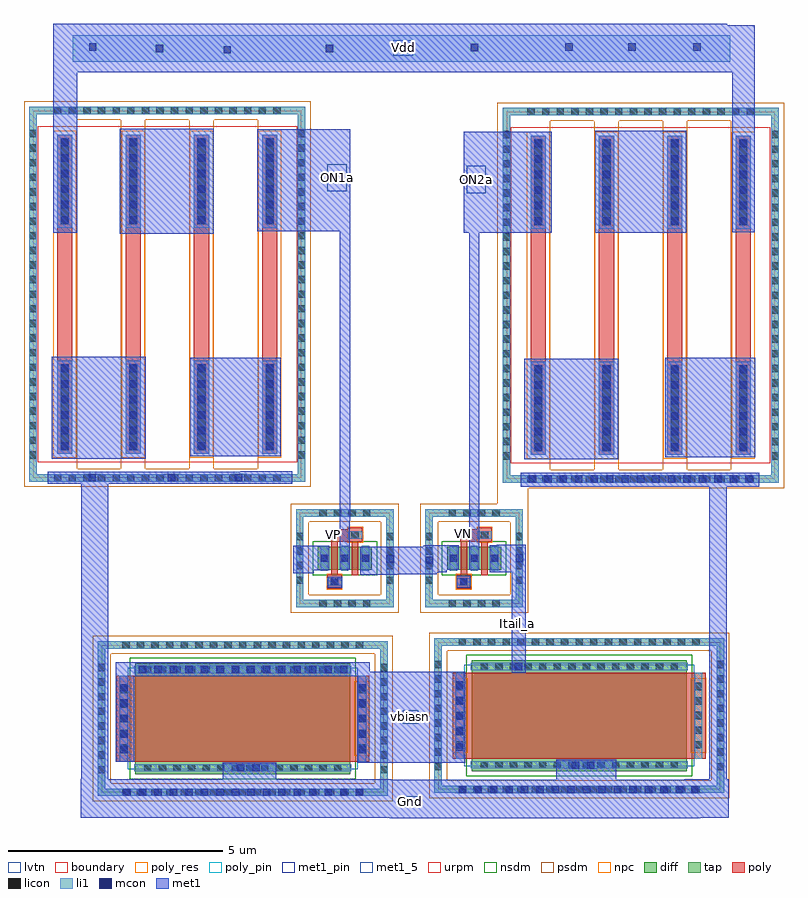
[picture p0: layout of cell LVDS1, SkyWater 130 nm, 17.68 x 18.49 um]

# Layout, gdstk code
from math import pi, radians
import gdstk
lib = gdstk.Library(unit=1e-6, precision=1e-09)
def R(c, l, rs):  # rectangles x0, y0, x1, y1
    for r in rs: c.add(gdstk.rectangle(r[:2], r[2:], *l))
def A(c, l, x, y, w, h, nx, ny, dx, dy):  # array of equal rectangles
    R(c, l, [(x+i*dx, y+j*dy, x+i*dx+w, y+j*dy+h) for i in range(nx) for j in range(ny)])
diff = (65, 20)
tap = (65, 44)
poly_res = (66, 13)
poly_pin = (66, 16)
poly = (66, 20)
licon = (66, 44)
li1 = (67, 20)
mcon = (67, 44)
met1_5 = (68, 5)
met1_pin = (68, 16)
met1 = (68, 20)
urpm = (79, 20)
nsdm = (93, 44)
psdm = (94, 20)
npc = (95, 20)
lvtn = (125, 44)
boundary = (235, 4)

sky130_fd_pr__res_xhigh_ = lib.new_cell('sky130_fd_pr__res_xhigh_po_0p35_RRCNTY')
R(sky130_fd_pr__res_xhigh_, tap, [(-3.21,-4.36,3.21,-4.19), (-3.21,-4.19,-3.04,4.19), (3.04,-4.19,3.21,4.19), (-3.21,4.19,3.21,4.36)])
A(sky130_fd_pr__res_xhigh_, poly_res, -2.56, -1.63, 0.35, 3.26, 4, 1, 1.59, 0)
A(sky130_fd_pr__res_xhigh_, poly, -2.56, -3.71, 0.35, 7.42, 4, 1, 1.59, 0)
A(sky130_fd_pr__res_xhigh_, licon, -2.635, -4.36, 0.17, 0.17, 16, 2, 0.34, 8.55)
A(sky130_fd_pr__res_xhigh_, licon, -3.21, -3.825, 0.17, 0.17, 1, 23, 0, 0.34)
A(sky130_fd_pr__res_xhigh_, licon, 3.04, -3.825, 0.17, 0.17, 1, 23, 0, 0.34)
A(sky130_fd_pr__res_xhigh_, licon, -2.48, -3.63, 0.19, 2, 4, 2, 1.59, 5.26)
A(sky130_fd_pr__res_xhigh_, li1, -2.56, -3.71, 0.35, 2.16, 4, 2, 1.59, 5.26)
R(sky130_fd_pr__res_xhigh_, li1, [(-3.21,-4.36,3.21,-4.19), (-3.21,-4.19,-3.04,4.19), (3.04,-4.19,3.21,4.19), (-3.21,4.19,3.21,4.36)])
R(sky130_fd_pr__res_xhigh_, urpm, [(-3.02,-3.91,3.02,3.91)])
R(sky130_fd_pr__res_xhigh_, psdm, [(-3.335,-4.485,3.335,-4.065), (-3.335,-4.065,-2.1,4.065), (-1.08,-4.065,-0.51,4.065), (0.51,-4.065,1.08,4.065), (2.1,-4.065,3.335,4.065), (-3.335,4.065,3.335,4.485)])
A(sky130_fd_pr__res_xhigh_, npc, -2.655, -3.805, 0.54, 7.61, 4, 1, 1.59, 0)
R(sky130_fd_pr__res_xhigh_, boundary, [(-3.12,-4.27,3.12,4.27)])

sky130_fd_pr__nfet_01v8_ = lib.new_cell('sky130_fd_pr__nfet_01v8_lvt_F9NR5A')
R(sky130_fd_pr__nfet_01v8_, diff, [(-1.29,-2.5,1.29,2.5)])
R(sky130_fd_pr__nfet_01v8_, tap, [(-1.8,-3.37,1.8,-3.2), (-1.8,-3.2,-1.63,3.2), (1.63,-3.2,1.8,3.2), (-1.8,3.2,1.8,3.37)])
R(sky130_fd_pr__nfet_01v8_, poly, [(-1,-2.94,1,2.94)])
A(sky130_fd_pr__nfet_01v8_, licon, -1.275, -3.37, 0.17, 0.17, 8, 2, 0.34, 6.57)
A(sky130_fd_pr__nfet_01v8_, licon, -0.765, -2.86, 0.17, 0.17, 5, 2, 0.34, 5.55)
A(sky130_fd_pr__nfet_01v8_, licon, -1.8, -2.805, 0.17, 0.17, 1, 17, 0, 0.34)
A(sky130_fd_pr__nfet_01v8_, licon, 1.63, -2.805, 0.17, 0.17, 1, 17, 0, 0.34)
A(sky130_fd_pr__nfet_01v8_, licon, -1.23, -2.295, 0.17, 0.17, 1, 14, 0, 0.34)
A(sky130_fd_pr__nfet_01v8_, licon, 1.06, -2.295, 0.17, 0.17, 1, 14, 0, 0.34)
R(sky130_fd_pr__nfet_01v8_, li1, [(-1.8,-3.37,1.8,-3.2), (-1.8,-3.2,-1.63,3.2), (1.63,-3.2,1.8,3.2), (-1,-2.86,1,-2.69), (-1.23,-2.52,-1.06,2.52), (1.06,-2.52,1.23,2.52), (-1,2.69,1,2.86), (-1.8,3.2,1.8,3.37)])
R(sky130_fd_pr__nfet_01v8_, nsdm, [(-1.415,-2.625,1.415,2.625)])
R(sky130_fd_pr__nfet_01v8_, psdm, [(-1.925,-3.495,1.925,-3.075), (-1.925,-3.075,-1.505,3.075), (1.505,-3.075,1.925,3.075), (-1.925,3.075,1.925,3.495)])
R(sky130_fd_pr__nfet_01v8_, npc, [(-0.865,-2.96,0.865,-2.59), (-0.865,2.59,0.865,2.96)])
R(sky130_fd_pr__nfet_01v8_, lvtn, [(-1.18,-2.68,1.18,2.68)])
R(sky130_fd_pr__nfet_01v8_, boundary, [(-1.71,-3.28,1.71,3.28)])

c_sky130_fd_pr__nfet_01v8_ = lib.new_cell('sky130_fd_pr__nfet_01v8_N9UHYA')
R(c_sky130_fd_pr__nfet_01v8_, diff, [(-0.625,-0.27,0.625,0.27)])
R(c_sky130_fd_pr__nfet_01v8_, tap, [(-1.135,-1.14,1.135,-0.97), (-1.135,-0.97,-0.965,0.97), (0.965,-0.97,1.135,0.97), (-1.135,0.97,1.135,1.14)])
R(c_sky130_fd_pr__nfet_01v8_, poly, [(-0.405,-0.71,-0.075,-0.38), (0.165,-0.4,0.315,0.38), (-0.315,-0.38,-0.165,0.4), (0.075,0.38,0.405,0.71)])
A(c_sky130_fd_pr__nfet_01v8_, licon, -0.595, -1.14, 0.17, 0.17, 4, 2, 0.34, 2.11)
A(c_sky130_fd_pr__nfet_01v8_, licon, -1.135, -0.595, 0.17, 0.17, 1, 4, 0, 0.34)
A(c_sky130_fd_pr__nfet_01v8_, licon, 0.965, -0.595, 0.17, 0.17, 1, 4, 0, 0.34)
A(c_sky130_fd_pr__nfet_01v8_, licon, -0.565, -0.085, 0.17, 0.17, 3, 1, 0.48, 0)
R(c_sky130_fd_pr__nfet_01v8_, licon, [(-0.325,-0.63,-0.155,-0.46), (0.155,0.46,0.325,0.63)])
A(c_sky130_fd_pr__nfet_01v8_, li1, -0.565, -0.29, 0.17, 0.58, 3, 1, 0.48, 0)
R(c_sky130_fd_pr__nfet_01v8_, li1, [(-1.135,-1.14,1.135,-0.97), (-1.135,-0.97,-0.965,0.97), (0.965,-0.97,1.135,0.97), (-0.405,-0.63,-0.075,-0.46), (0.075,0.46,0.405,0.63), (-1.135,0.97,1.135,1.14)])
A(c_sky130_fd_pr__nfet_01v8_, mcon, -0.565, -0.085, 0.17, 0.17, 3, 1, 0.48, 0)
A(c_sky130_fd_pr__nfet_01v8_, met1, -0.595, -0.27, 0.23, 0.54, 3, 1, 0.48, 0)
R(c_sky130_fd_pr__nfet_01v8_, nsdm, [(-0.75,-0.395,0.75,0.395)])
R(c_sky130_fd_pr__nfet_01v8_, psdm, [(-1.26,-1.265,1.26,-0.845), (-1.26,-0.845,-0.84,0.845), (0.84,-0.845,1.26,0.845), (-1.26,0.845,1.26,1.265)])
R(c_sky130_fd_pr__nfet_01v8_, npc, [(-0.425,-0.73,-0.055,-0.36), (0.055,0.36,0.425,0.73)])
R(c_sky130_fd_pr__nfet_01v8_, boundary, [(-1.05,-1.055,1.05,1.055)])

lvds1 = lib.new_cell('LVDS1')
R(lvds1, poly_pin, [(6.95,-1.38,7.04,-1.26), (9.98,-1.36,10.07,-1.24)])
R(lvds1, poly, [(6.93,-1.49,7.41,-1.19), (9.94,-1.49,10.34,-1.46), (10.42,-1.49,10.57,-1.45), (9.94,-1.46,10.39,-1.22), (9.94,-1.22,10.34,-1.19)])
A(lvds1, li1, 11.58, 0.54, 0.35, 2.16, 4, 2, 1.59, 5.26)
A(lvds1, li1, 0.565, 0.565, 0.35, 2.16, 4, 2, 1.59, 5.26)
R(lvds1, li1, [(2,-7.4,7.78,-7.23), (9.81,-7.34,15.59,-7.17), (4.67,-6.83,5.35,-6.66), (12.47,-6.77,13.13,-6.6), (2.03,-6.52,2.2,-4.68), (7.58,-6.52,7.75,-4.68), (9.84,-6.46,10.01,-4.62), (2.45,-4.54,7.33,-4.37), (11.18,-4.47,11.42,-4.3), (6.93,-2.5,7.1,-2.33), (9.94,-2.5,10.11,-2.33), (9.13,-2.07,9.31,-1.76), (8.22,-2.04,8.4,-1.73), (11.23,-2.02,11.41,-1.71), (11.41,-0.11,16.87,0.06), (1.2,-0.08,1.56,0.1), (3.04,-0.08,3.4,0.1), (4.6,-0.08,4.96,0.1), (0.93,9.68,16.22,10.3)])
A(lvds1, mcon, 2.105, -7.4, 0.17, 0.17, 16, 1, 0.36, 0)
A(lvds1, mcon, 9.915, -7.34, 0.17, 0.17, 16, 1, 0.36, 0)
A(lvds1, mcon, 2.03, -6.405, 0.17, 0.17, 1, 5, 0, 0.36)
A(lvds1, mcon, 7.58, -6.405, 0.17, 0.17, 1, 5, 0, 0.36)
A(lvds1, mcon, 9.84, -6.345, 0.17, 0.17, 1, 5, 0, 0.36)
A(lvds1, mcon, 2.465, -4.54, 0.17, 0.17, 14, 1, 0.36, 0)
A(lvds1, mcon, 11.535, -0.11, 0.17, 0.17, 15, 1, 0.36, 0)
A(lvds1, mcon, 11.67, 0.635, 0.17, 0.17, 4, 6, 1.59, 0.36)
A(lvds1, mcon, 0.655, 0.66, 0.17, 0.17, 4, 6, 1.59, 0.36)
A(lvds1, mcon, 11.67, 5.895, 0.17, 0.17, 4, 6, 1.59, 0.36)
A(lvds1, mcon, 0.655, 5.92, 0.17, 0.17, 4, 6, 1.59, 0.36)
R(lvds1, mcon, [(4.745,-6.83,4.915,-6.66), (5.105,-6.83,5.275,-6.66), (12.535,-6.77,12.705,-6.6), (12.895,-6.77,13.065,-6.6), (11.215,-4.47,11.385,-4.3), (6.93,-2.5,7.1,-2.33), (9.94,-2.5,10.11,-2.33), (9.135,-2,9.305,-1.83), (8.225,-1.97,8.395,-1.8), (11.235,-1.95,11.405,-1.78), (1.295,-0.075,1.465,0.095), (3.135,-0.075,3.305,0.095), (4.695,-0.075,4.865,0.095), (4.435,9.88,4.605,10.05), (2.855,9.91,3.025,10.08), (6.815,9.91,6.985,10.08), (10.185,9.93,10.355,10.1), (1.305,9.94,1.475,10.11), (12.385,9.94,12.555,10.11), (13.855,9.94,14.025,10.11), (15.365,9.94,15.535,10.11)])
R(lvds1, met1_5, [(11.22,-3.45,11.35,-3.33)])
R(lvds1, met1_pin, [(8.6,-7.63,8.97,-7.41), (8.6,-5.72,8.96,-5.4), (10.09,6.63,10.54,7.26), (6.85,6.67,7.3,7.3), (8.38,9.83,8.85,10.19)])
R(lvds1, met1, [(8.3,-7.92,15.53,-7.91), (1.11,-7.91,16.19,-7.02), (1.11,-7.02,8.34,-7.01), (12.18,-7.02,13.57,-6.56), (15.15,-7.02,16.19,-7.01), (1.12,-7.01,1.75,-0.14), (4.42,-7.01,5.66,-6.63), (15.73,-7.01,16.14,-0.21), (7.55,-6.63,10.06,-4.61), (1.92,-6.6,2.35,-4.61), (1.92,-4.61,10.06,-4.51), (11.14,-4.53,11.47,-2.2), (1.92,-4.51,7.83,-4.29), (9.86,-2.56,10.17,-2.28), (6.86,-2.55,7.2,-2.3), (7.62,-2.25,8.47,-2.24), (7.62,-2.24,9.4,-2.21), (6.06,-2.22,6.53,-2.15), (7.62,-2.21,9.43,-2.2), (7.62,-2.2,9.63,-2.14), (10.63,-2.2,11.47,-2.1), (6.06,-2.15,6.89,-1.58), (7.62,-2.14,9.91,-2.1), (7.62,-2.1,9.7,-1.67), (9.87,-2.1,9.91,-1.67), (10.63,-2.1,10.66,-1.67), (10.83,-2.1,11.47,-1.67), (7.14,-1.675,7.3,-1.62), (7.62,-1.67,9.91,-1.6), (10.63,-1.67,11.47,-1.57), (10.15,-1.645,10.38,5.71), (7.14,-1.62,7.37,-0.99), (9.08,-1.6,9.91,-1.58), (9.11,-1.58,9.91,-1.57), (10.79,-1.57,11.47,-1.55), (7.14,-0.99,7.38,5.74), (11.35,-0.21,16.9,0.12), (0.34,-0.14,6.03,0.14), (4.82,0.14,6.03,0.15), (11.43,0.43,13.62,2.77), (0.44,0.45,2.62,2.82), (14.71,0.48,16.81,2.8), (3.66,0.51,5.77,2.8), (2.02,5.68,4.21,8.13), (0.47,5.71,1.03,9.44), (10.02,5.71,12.07,8.05), (13.08,5.71,15.2,8.08), (16.27,5.72,16.8,9.44), (5.22,5.74,7.38,8.11), (0.47,9.44,16.8,10.53), (0.47,10.53,16.15,10.57)])
R(lvds1, psdm, [(10.805,-0.605,11.525,-0.235)])
lvds1.add(gdstk.Reference(sky130_fd_pr__res_xhigh_, (14.14,4.25)))
lvds1.add(gdstk.Reference(sky130_fd_pr__nfet_01v8_, (12.71,-5.53), rotation=3*pi/2))
lvds1.add(gdstk.Reference(c_sky130_fd_pr__nfet_01v8_, (10.265,-1.87)))
lvds1.add(gdstk.Reference(c_sky130_fd_pr__nfet_01v8_, (7.255,-1.87)))
lvds1.add(gdstk.Reference(sky130_fd_pr__res_xhigh_, (3.125,4.275)))
lvds1.add(gdstk.Reference(sky130_fd_pr__nfet_01v8_, (4.88,-5.6), rotation=3*pi/2))
lvds1.add(gdstk.Label('Itail_a', (11.285,-3.39), layer=68, texttype=5))
lvds1.add(gdstk.Label('Vdd', (8.615,10.01), layer=68, texttype=5))
lvds1.add(gdstk.Label('ON2a', (10.315,6.945), layer=68, texttype=5))
lvds1.add(gdstk.Label('ON1a', (7.075,6.985), layer=68, texttype=5))
lvds1.add(gdstk.Label('VP', (6.995,-1.32), layer=66, texttype=5))
lvds1.add(gdstk.Label('VN', (10.025,-1.3), layer=66, texttype=5))
lvds1.add(gdstk.Label('Gnd', (8.785,-7.52), layer=68, texttype=5))
lvds1.add(gdstk.Label('vbiasn', (8.78,-5.56), layer=68, texttype=5))

lib.write_gds('LVDS1.gds')
